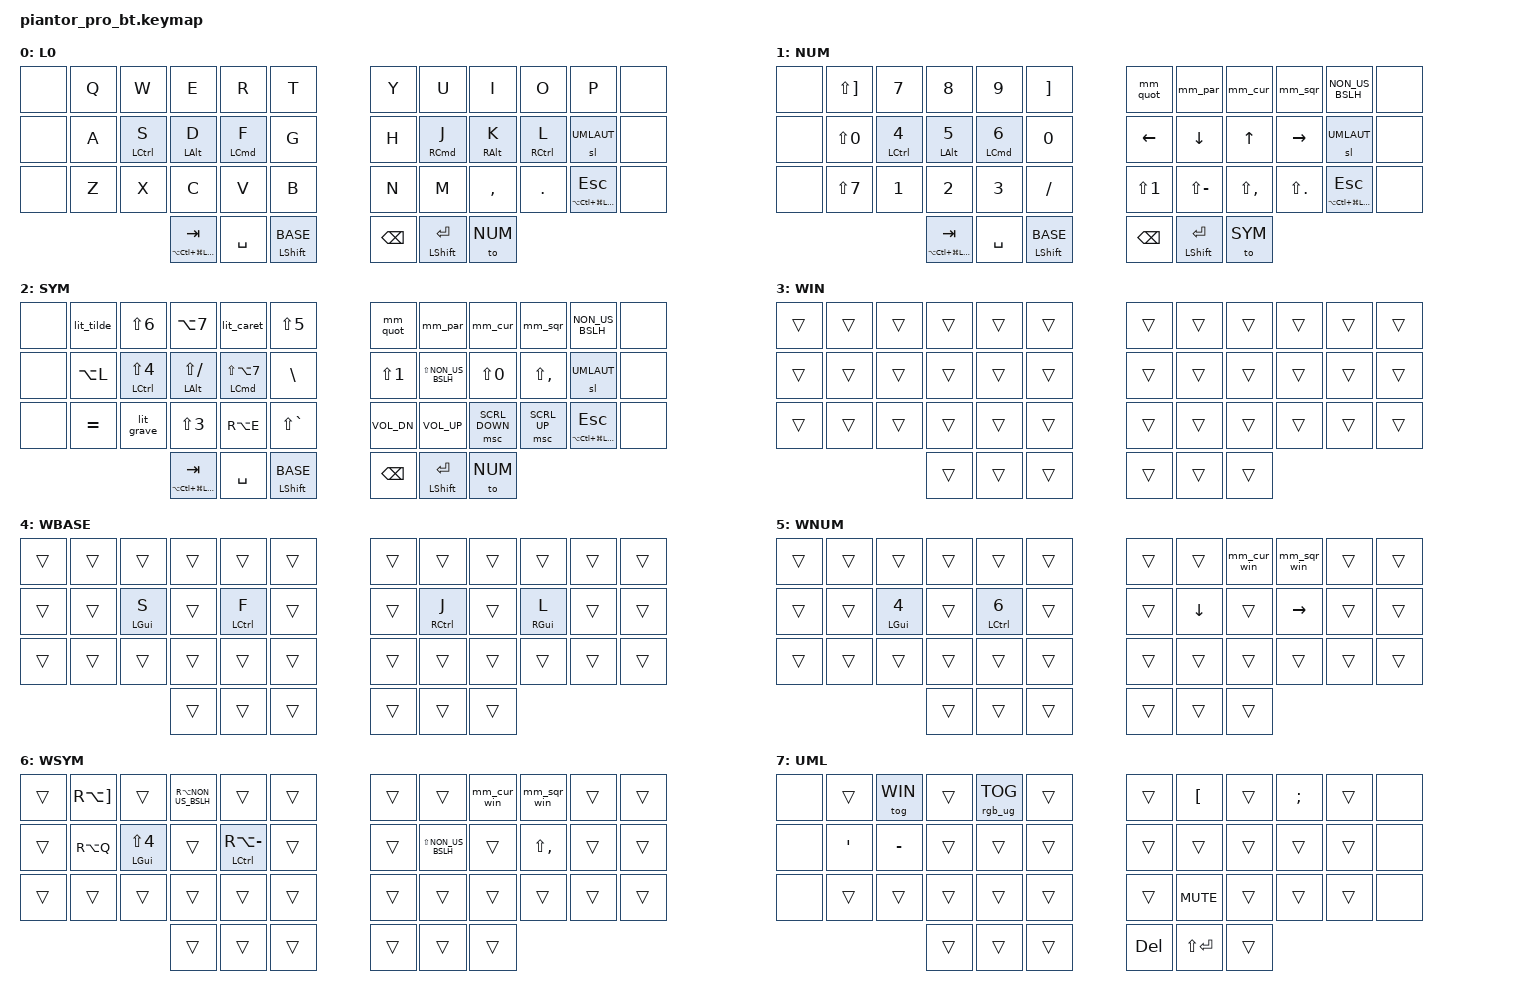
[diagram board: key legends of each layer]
/*
 * Copyright (c) 2020 The ZMK Contributors
 *
 * SPDX-License-Identifier: MIT
 */

#include <behaviors.dtsi>
#include <dt-bindings/zmk/keys.h>
#include <dt-bindings/zmk/pointing.h>
#include <dt-bindings/zmk/rgb.h>

// Layer indices — order matters: the WIN_* fix layers must sit above the
// layers they patch, and UMLAUT above everything so sticky umlauts (ß on
// the S position) are never masked by the win fixes.
#define BASE     0
#define NUM      1
#define SYM      2
#define WIN      3
#define WIN_BASE 4
#define WIN_NUM  5
#define WIN_SYM  6
#define UMLAUT   7

/ {
    chosen { zmk,physical-layout = &default_layout; };
};

/ {
    conditional_layers {
        compatible = "zmk,conditional-layers";
        // WIN is a plain flag layer (all &trans), toggled with &tog WIN.
        // While it is on, these fix layers overlay the mac layers with the
        // Windows German AltGr codes and swapped home row mods.
        win_base {
            if-layers = <WIN BASE>;
            then-layer = <WIN_BASE>;
        };
        win_num {
            if-layers = <WIN NUM>;
            then-layer = <WIN_NUM>;
        };
        win_sym {
            if-layers = <WIN SYM>;
            then-layer = <WIN_SYM>;
        };
    };
};

/ {
    behaviors {
        hml: home_row_mod_left {
            compatible = "zmk,behavior-hold-tap";
            #binding-cells = <2>;
            flavor = "balanced";
            tapping-term-ms = <200>;
            quick-tap-ms = <175>;
            require-prior-idle-ms = <150>;
            bindings = <&kp>, <&kp>;
            hold-trigger-on-release;
            hold-trigger-key-positions = <6 7 8 9 10 11 18 19 20 21 22 23 30 31 32 33 34 35 36 37 38 39 40 41>;
        };
        hmr: home_row_mod_right {
            compatible = "zmk,behavior-hold-tap";
            #binding-cells = <2>;
            flavor = "balanced";
            tapping-term-ms = <200>;
            quick-tap-ms = <175>;
            require-prior-idle-ms = <150>;
            bindings = <&kp>, <&kp>;
            hold-trigger-on-release;
            hold-trigger-key-positions = <0 1 2 3 4 5 12 13 14 15 16 17 24 25 26 27 28 29 36 37 38 39 40 41>;
        };
        sht: shift_home_tap {
            compatible = "zmk,behavior-hold-tap";
            #binding-cells = <2>;
            flavor = "hold-preferred";
            tapping-term-ms = <200>;
            quick-tap-ms = <175>;
            bindings = <&kp>, <&to>;
        };
        // Backup shift on the Enter thumb. Tuned so a mis-classified press
        // yields Shift (harmless) rather than Enter (sends the message):
        // hold-trigger positions cover the LEFT half + left thumbs only, so
        // rolling Enter into any right-hand key can never produce Shift, and
        // the 250 ms term (longer than the HRMs) keeps sloppy Enter taps Enter.
        sent: backup_shift_enter {
            compatible = "zmk,behavior-hold-tap";
            #binding-cells = <2>;
            flavor = "balanced";
            tapping-term-ms = <250>;
            quick-tap-ms = <175>;
            require-prior-idle-ms = <150>;
            bindings = <&kp>, <&kp>;
            hold-trigger-on-release;
            hold-trigger-key-positions = <0 1 2 3 4 5 12 13 14 15 16 17 24 25 26 27 28 29 36 37 38>;
        };
        // Second Hyper on the left Tab thumb (tap = Tab), mirroring the Esc
        // mod-tap on the right — turns Hyper+right-half keys (h/j/k/l, m)
        // into a two-handed chord. Balanced flavor + require-prior-idle so a
        // fast Tab->letter roll resolves as taps and never fires a stray
        // Hyper binding; no hold-trigger-key-positions, both halves must
        // remain chordable (workspace letters sit on the left).
        tht: thumb_hyper_tab {
            compatible = "zmk,behavior-hold-tap";
            #binding-cells = <2>;
            flavor = "balanced";
            tapping-term-ms = <200>;
            quick-tap-ms = <175>;
            require-prior-idle-ms = <150>;
            bindings = <&kp>, <&kp>;
        };
        // Bracket morphs: tap = opener, shift (thumb hold) = closer.
        // mod-morph masks the triggering shift, so the alt-combos stay clean.
        mm_par: morph_parens {
            compatible = "zmk,behavior-mod-morph";
            #binding-cells = <0>;
            bindings = <&kp LS(NUMBER_8)>, <&kp LS(NUMBER_9)>;
            mods = <(MOD_LSFT|MOD_RSFT)>;
        };
        mm_cur: morph_curly {
            compatible = "zmk,behavior-mod-morph";
            #binding-cells = <0>;
            bindings = <&kp LA(NUMBER_8)>, <&kp LA(NUMBER_9)>;
            mods = <(MOD_LSFT|MOD_RSFT)>;
        };
        mm_sqr: morph_square {
            compatible = "zmk,behavior-mod-morph";
            #binding-cells = <0>;
            bindings = <&kp LA(NUMBER_5)>, <&kp LA(NUMBER_6)>;
            mods = <(MOD_LSFT|MOD_RSFT)>;
        };
        mm_quot: morph_quotes {
            compatible = "zmk,behavior-mod-morph";
            #binding-cells = <0>;
            bindings = <&kp LS(NUMBER_2)>, <&kp LS(BSLH)>;
            mods = <(MOD_LSFT|MOD_RSFT)>;
        };
        // Windows German variants (AltGr codes); parens and quotes are
        // positionally identical on both layouts and need no variant.
        mm_cur_win: morph_curly_win {
            compatible = "zmk,behavior-mod-morph";
            #binding-cells = <0>;
            bindings = <&kp RA(NUMBER_7)>, <&kp RA(NUMBER_0)>;
            mods = <(MOD_LSFT|MOD_RSFT)>;
        };
        mm_sqr_win: morph_square_win {
            compatible = "zmk,behavior-mod-morph";
            #binding-cells = <0>;
            bindings = <&kp RA(NUMBER_8)>, <&kp RA(NUMBER_9)>;
            mods = <(MOD_LSFT|MOD_RSFT)>;
        };
    };
};

/ {
    macros {
        // German keeps ~ ^ ` behind dead keys; these send dead key + Space so
        // the literal character comes out in one press (vim motions, code).
        // Trade-off: composed characters (â, ñ) are not reachable from SYM.
        lit_tilde: lit_tilde {
            compatible = "zmk,behavior-macro";
            #binding-cells = <0>;
            wait-ms = <10>;
            tap-ms = <10>;
            bindings = <&kp LA(N) &kp SPACE>;
        };
        lit_caret: lit_caret {
            // ^ is dead on mac AND win -> shared, no WIN_SYM override
            compatible = "zmk,behavior-macro";
            #binding-cells = <0>;
            wait-ms = <10>;
            tap-ms = <10>;
            bindings = <&kp GRAVE &kp SPACE>;
        };
        lit_grave: lit_grave {
            // ` is dead on mac AND win -> shared, no WIN_SYM override
            compatible = "zmk,behavior-macro";
            #binding-cells = <0>;
            wait-ms = <10>;
            tap-ms = <10>;
            bindings = <&kp LS(EQUAL) &kp SPACE>;
        };
    };
};

/ {
    keymap {
        compatible = "zmk,keymap";

        default_layer {
            display-name = "L0";

            // default_layer (L0) — tap = letter, hold = mod on home row
            //  Q   W   E   R   T  |  Y   U   I   O   P
            //  A   S   D   F   G  |  H   J   K   L  SL      S=Ctrl D=Opt F=Cmd | J=Cmd K=Opt L=Ctrl
            //  Z   X   C   V   B  |  N   M   ,   .  ESC     SL = sticky umlaut layer
            //     TAB SPC ⇧/→L0 | BSPC ⇧/ENT →L1            ESC = tap Esc / hold Hyper (⌃⌥⌘⇧)
            //                                               ⇧/→L0 = hold Shift / tap go to L0
            //                                               ⇧/ENT = tap Enter / hold backup Shift
            //                                               TAB = tap Tab / hold Hyper (⌃⌥⌘⇧)

            bindings = <
&none  &kp Q  &kp W  &kp E  &kp R  &kp T  &kp Y  &kp U  &kp I  &kp O  &kp P  &none
&none  &kp A  &hml LCTRL S  &hml LEFT_ALT D  &hml LCMD F  &kp G  &kp H  &hmr RCMD J  &hmr RIGHT_ALT K  &hmr RCTRL L  &sl UMLAUT  &none
&none  &kp Z  &kp X  &kp C  &kp V  &kp B  &kp N  &kp M  &kp COMMA  &kp DOT  &mt LA(LC(LG(LEFT_SHIFT))) ESCAPE  &none
&tht LA(LC(LG(LEFT_SHIFT))) TAB  &kp SPACE  &sht LEFT_SHIFT BASE  &kp BACKSPACE  &sent LEFT_SHIFT ENTER  &to NUM
            >;
        };

        num_layer {
            display-name = "NUM";

            // num_layer (L1) — numpad / navigation / brackets
            //  *   7   8   9   +  |  "   (   {   [   <     top right: openers
            //  =   4   5   6   0  |  ←   ↓   ↑   →  SL     hold thumb-Shift → ' ) } ] >
            //  /   1   2   3   -  |  !   ?   ;   :  ESC    4=Ctrl 5=Opt 6=Cmd (hold)
            //     TAB SPC ⇧/→L0 | BSPC ⇧/ENT →L2

            bindings = <
&none  &kp LS(RBKT)  &kp NUMBER_7  &kp NUMBER_8  &kp NUMBER_9  &kp RBKT  &mm_quot  &mm_par  &mm_cur  &mm_sqr  &kp NON_US_BSLH  &none
&none  &kp LS(NUMBER_0)  &hml LCTRL NUMBER_4  &hml LEFT_ALT NUMBER_5  &hml LCMD NUMBER_6  &kp NUMBER_0  &kp LEFT  &kp DOWN  &kp UP  &kp RIGHT  &sl UMLAUT  &none
&none  &kp LS(NUMBER_7)  &kp NUMBER_1  &kp NUMBER_2  &kp NUMBER_3  &kp SLASH  &kp LS(NUMBER_1)  &kp LS(MINUS)  &kp LS(COMMA)  &kp LS(PERIOD)  &mt LA(LC(LG(LEFT_SHIFT))) ESCAPE  &none
&tht LA(LC(LG(LEFT_SHIFT))) TAB  &kp SPACE  &sht LEFT_SHIFT BASE  &kp BACKSPACE  &sent LEFT_SHIFT ENTER  &to SYM
            >;
        };

        sym_layer {
            display-name = "SYM";

            // sym_layer (L2) — symbols tuned for C# / vim
            //  ~   &   |   ^   %  |  "   (   {   [   <     top right: same morphs
            //  @   $   _   \   #  |  !   >   =   ;  SL     as NUM (shift = closer)
            //  ´   `   §   €   °  | V−  V+  s↓  s↑  ESC    $=Ctrl _=Opt \=Cmd (hold)
            //     TAB SPC ⇧/→L0 | BSPC ⇧/ENT →L1          ~ ^ ` are literal (macro)

            bindings = <
&none  &lit_tilde  &kp LS(NUMBER_6)  &kp LA(NUMBER_7)  &lit_caret  &kp LS(NUMBER_5)  &mm_quot  &mm_par  &mm_cur  &mm_sqr  &kp NON_US_BSLH  &none
&none  &kp LA(L)  &hml LCTRL LS(NUMBER_4)  &hml LEFT_ALT LS(SLASH)  &hml LCMD LS(LA(NUMBER_7))  &kp BSLH  &kp LS(NUMBER_1)  &kp LS(NON_US_BSLH)  &kp LS(NUMBER_0)  &kp LS(COMMA)  &sl UMLAUT  &none
&none  &kp EQUAL  &lit_grave  &kp LS(NUMBER_3)  &kp RA(E)  &kp LS(GRAVE)  &kp C_VOL_DN  &kp C_VOL_UP  &msc SCRL_DOWN  &msc SCRL_UP  &mt LA(LC(LG(LEFT_SHIFT))) ESCAPE  &none
&tht LA(LC(LG(LEFT_SHIFT))) TAB  &kp SPACE  &sht LEFT_SHIFT BASE  &kp BACKSPACE  &sent LEFT_SHIFT ENTER  &to NUM
            >;
        };

        win_layer {
            display-name = "WIN";

            // win_layer (WIN) — pure flag, toggled from SYM; all &trans.
            // conditional_layers maps WIN+<layer> to the fix layers below.

            bindings = <
&trans  &trans  &trans  &trans  &trans  &trans  &trans  &trans  &trans  &trans  &trans  &trans
&trans  &trans  &trans  &trans  &trans  &trans  &trans  &trans  &trans  &trans  &trans  &trans
&trans  &trans  &trans  &trans  &trans  &trans  &trans  &trans  &trans  &trans  &trans  &trans
&trans  &trans  &trans  &trans  &trans  &trans
            >;
        };

        win_base_layer {
            display-name = "WBASE";

            // win_base_layer — home row mod swap for Windows:
            // S=Win(GUI) F=Ctrl | J=Ctrl L=Win(GUI); D/K stay Alt (&trans).
            // Always active in win mode (layer 0 stays on), so WIN_NUM and
            // WIN_SYM re-declare these four positions.

            bindings = <
&trans  &trans  &trans  &trans  &trans  &trans  &trans  &trans  &trans  &trans  &trans  &trans
&trans  &trans  &hml LGUI S  &trans  &hml LCTRL F  &trans  &trans  &hmr RCTRL J  &trans  &hmr RGUI L  &trans  &trans
&trans  &trans  &trans  &trans  &trans  &trans  &trans  &trans  &trans  &trans  &trans  &trans
&trans  &trans  &trans  &trans  &trans  &trans
            >;
        };

        win_num_layer {
            display-name = "WNUM";

            // win_num_layer — AltGr bracket morphs for { and [ plus the four
            // positions masked by WIN_BASE (4/6 with win mods, ↓/→ arrows).

            bindings = <
&trans  &trans  &trans  &trans  &trans  &trans  &trans  &trans  &mm_cur_win  &mm_sqr_win  &trans  &trans
&trans  &trans  &hml LGUI NUMBER_4  &trans  &hml LCTRL NUMBER_6  &trans  &trans  &kp DOWN  &trans  &kp RIGHT  &trans  &trans
&trans  &trans  &trans  &trans  &trans  &trans  &trans  &trans  &trans  &trans  &trans  &trans
&trans  &trans  &trans  &trans  &trans  &trans
            >;
        };

        win_sym_layer {
            display-name = "WSYM";

            // win_sym_layer — AltGr codes for ~ | @ \ { [ plus the four
            // positions masked by WIN_BASE ($/\ with win mods, > and ;).
            // ^ and ` stay &trans: dead on Windows too, shared lit_* macros.

            bindings = <
&trans  &kp RA(RBKT)  &trans  &kp RA(NON_US_BSLH)  &trans  &trans  &trans  &trans  &mm_cur_win  &mm_sqr_win  &trans  &trans
&trans  &kp RA(Q)  &hml LGUI LS(NUMBER_4)  &trans  &hml LCTRL RA(MINUS)  &trans  &trans  &kp LS(NON_US_BSLH)  &trans  &kp LS(COMMA)  &trans  &trans
&trans  &trans  &trans  &trans  &trans  &trans  &trans  &trans  &trans  &trans  &trans  &trans
&trans  &trans  &trans  &trans  &trans  &trans
            >;
        };

        umlaut_layer {
            display-name = "UML";

            // umlaut_layer (UMLAUT) — sticky overlay via SL; rest = &trans
            // thumbs: DEL on BSPC position, ⇧Enter on Enter position
            //      ⊞W      LEDR | ü       ö          mnemonic toggles:
            //  ä   ß           |                     W=win mode, R=RGB
            //                  |     🔇M              M=mute
            // (sits above the WIN fix layers, so UMLAUT+W exits win mode too)

            bindings = <
&none  &trans  &tog WIN  &trans  &rgb_ug RGB_TOG  &trans  &trans  &kp LBKT  &trans  &kp SEMI  &trans  &none
&none  &kp SINGLE_QUOTE  &kp MINUS  &trans  &trans  &trans  &trans  &trans  &trans  &trans  &trans  &none
&none  &trans  &trans  &trans  &trans  &trans  &trans  &kp C_MUTE  &trans  &trans  &trans  &none
&trans  &trans  &trans  &kp DELETE  &kp LS(ENTER)  &trans
            >;
        };
    };
};
